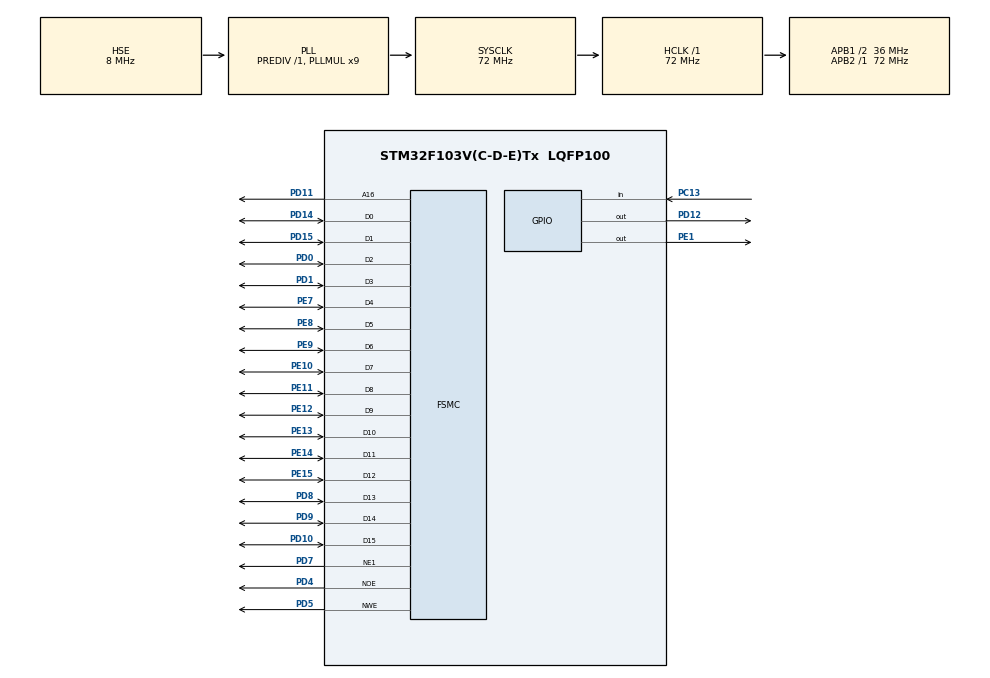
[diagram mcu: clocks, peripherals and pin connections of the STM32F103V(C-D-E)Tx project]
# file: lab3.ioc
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Mcu.Family=STM32F1
Mcu.Name=STM32F103V(C-D-E)Tx
Mcu.Package=LQFP100
NVIC.PriorityGroup=NVIC_PRIORITYGROUP_4
OSC_IN.Mode=HSE-External-Oscillator
OSC_IN.Signal=RCC_OSC_IN
OSC_OUT.Mode=HSE-External-Oscillator
OSC_OUT.Signal=RCC_OSC_OUT
PA13.Mode=Serial_Wire
PA13.Signal=SYS_JTMS-SWDIO
PA14.Mode=Serial_Wire
PA14.Signal=SYS_JTCK-SWCLK
PC13-TAMPER-RTC.GPIO_PuPd=GPIO_PULLDOWN
PC13-TAMPER-RTC.Signal=GPIO_Input
PC14-OSC32_IN.Mode=LSE-External-Oscillator
PC14-OSC32_IN.Signal=RCC_OSC32_IN
PC15-OSC32_OUT.Mode=LSE-External-Oscillator
PC15-OSC32_OUT.Signal=RCC_OSC32_OUT
PD0.Mode=16b-d1
PD0.Signal=FSMC_D2
PD1.Mode=16b-d1
PD1.Signal=FSMC_D3
PD10.Mode=16b-d1
PD10.Signal=FSMC_D15
PD11.Mode=A16_1
PD11.Signal=FSMC_A16
PD12.GPIO_Speed=GPIO_SPEED_FREQ_HIGH
PD12.PinState=GPIO_PIN_SET
PD12.Signal=GPIO_Output
PD14.Mode=16b-d1
PD14.Signal=FSMC_D0
PD15.Mode=16b-d1
PD15.Signal=FSMC_D1
PD4.Mode=Lcd1
PD4.Signal=FSMC_NOE
PD5.Mode=Lcd1
PD5.Signal=FSMC_NWE
PD7.Mode=NorPsramChipSelect1_1
PD7.Signal=FSMC_NE1
PD8.Mode=16b-d1
PD8.Signal=FSMC_D13
PD9.Mode=16b-d1
PD9.Signal=FSMC_D14
PE1.GPIO_Speed=GPIO_SPEED_FREQ_HIGH
PE1.PinState=GPIO_PIN_SET
PE1.Signal=GPIO_Output
PE10.Mode=16b-d1
PE10.Signal=FSMC_D7
PE11.Mode=16b-d1
PE11.Signal=FSMC_D8
PE12.Mode=16b-d1
PE12.Signal=FSMC_D9
PE13.Mode=16b-d1
PE13.Signal=FSMC_D10
PE14.Mode=16b-d1
PE14.Signal=FSMC_D11
PE15.Mode=16b-d1
PE15.Signal=FSMC_D12
PE7.Mode=16b-d1
PE7.Signal=FSMC_D4
PE8.Mode=16b-d1
PE8.Signal=FSMC_D5
PE9.Mode=16b-d1
PE9.Signal=FSMC_D6
ProjectManager.HeapSize=0x200
ProjectManager.StackSize=0x400
ProjectManager.TargetToolchain=STM32CubeIDE
RCC.AHBFreq_Value=72000000
RCC.APB1CLKDivider=RCC_HCLK_DIV2
RCC.APB1Freq_Value=36000000
RCC.APB1TimFreq_Value=72000000
RCC.APB2Freq_Value=72000000
RCC.APB2TimFreq_Value=72000000
RCC.HCLKFreq_Value=72000000
RCC.PLLMUL=RCC_PLL_MUL9
RCC.PLLSourceVirtual=RCC_PLLSOURCE_HSE
RCC.SYSCLKFreq_VALUE=72000000
RCC.SYSCLKSource=RCC_SYSCLKSOURCE_PLLCLK
RCC.USBFreq_Value=72000000
board=custom

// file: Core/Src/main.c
/* USER CODE BEGIN Header */
/**
  ******************************************************************************
  * @file           : main.c
  * @brief          : Main program body
  ******************************************************************************
  * @attention
  *
  * Copyright (c) 2023 STMicroelectronics.
  * All rights reserved.
  *
  * This software is licensed under terms that can be found in the LICENSE file
  * in the root directory of this software component.
  * If no LICENSE file comes with this software, it is provided AS-IS.
  *
  ******************************************************************************
  */
/* USER CODE END Header */
#include "main.h"

/* USER CODE BEGIN Includes */
#include "lcd.h"

/* USER CODE END Includes */

 SRAM_HandleTypeDef hsram1;

void SystemClock_Config(void);
static void MX_GPIO_Init(void);
static void MX_FSMC_Init(void);

int main(void)
{
  /* USER CODE BEGIN 1 */
	const unsigned char arr [] = {
	0x00, 0x00, 0x00, 0x00, 0x00, 0x00, 0x00, 0x00, 0x00, 0x00, 0x00, 0x00, 0x00, 0x00, 0x00, 0x00, 0x00, 0x00, 0x00, 0x00, 0x00, 0x00, 0x00, 0x00,
	0x00, 0x00, 0x00, 0x00, 0x00, 0x00, 0x00, 0x00, 0x00, 0x00, 0x00, 0x01, 0x01, 0x00, 0x00, 0x00, 0x00, 0x00, 0x00, 0x01, 0x01, 0x00, 0x00, 0x00,
	0x00, 0x00, 0x00, 0x00, 0x00, 0x00, 0x00, 0x00, 0x00, 0x00, 0x00, 0x01, 0x01, 0x01, 0x00, 0x00, 0x00, 0x00, 0x01, 0x01, 0x01, 0x00, 0x00, 0x00,
	0x00, 0x00, 0x01, 0x01, 0x01, 0x01, 0x01, 0x01, 0x01, 0x01, 0x00, 0x00, 0x01, 0x01, 0x01, 0x00, 0x00, 0x01, 0x01, 0x01, 0x00, 0x00, 0x00, 0x00,
	0x00, 0x00, 0x01, 0x01, 0x01, 0x01, 0x01, 0x01, 0x01, 0x01, 0x00, 0x00, 0x00, 0x01, 0x01, 0x01, 0x01, 0x01, 0x01, 0x00, 0x00, 0x00, 0x00, 0x00,
	0x00, 0x00, 0x01, 0x01, 0x00, 0x00, 0x00, 0x00, 0x01, 0x01, 0x00, 0x00, 0x00, 0x00, 0x01, 0x01, 0x01, 0x01, 0x00, 0x00, 0x00, 0x00, 0x00, 0x00,
	0x00, 0x00, 0x01, 0x01, 0x00, 0x00, 0x00, 0x00, 0x01, 0x01, 0x00, 0x00, 0x00, 0x00, 0x00, 0x01, 0x01, 0x00, 0x00, 0x00, 0x00, 0x00, 0x00, 0x00,
	0x00, 0x00, 0x01, 0x01, 0x00, 0x00, 0x00, 0x00, 0x01, 0x01, 0x00, 0x00, 0x00, 0x01, 0x01, 0x01, 0x01, 0x01, 0x01, 0x00, 0x00, 0x00, 0x00, 0x00,
	0x00, 0x00, 0x01, 0x01, 0x00, 0x00, 0x00, 0x00, 0x01, 0x01, 0x00, 0x00, 0x01, 0x01, 0x01, 0x00, 0x00, 0x01, 0x01, 0x01, 0x00, 0x00, 0x00, 0x00,
	0x00, 0x00, 0x01, 0x01, 0x00, 0x00, 0x00, 0x00, 0x01, 0x01, 0x00, 0x01, 0x01, 0x01, 0x00, 0x00, 0x00, 0x00, 0x01, 0x01, 0x01, 0x00, 0x00, 0x00,
	0x00, 0x00, 0x01, 0x01, 0x00, 0x00, 0x00, 0x00, 0x01, 0x01, 0x00, 0x01, 0x01, 0x00, 0x01, 0x01, 0x00, 0x00, 0x00, 0x01, 0x01, 0x01, 0x00, 0x00,
	0x00, 0x00, 0x01, 0x01, 0x01, 0x01, 0x01, 0x01, 0x01, 0x01, 0x00, 0x00, 0x00, 0x01, 0x01, 0x00, 0x00, 0x00, 0x00, 0x00, 0x00, 0x00, 0x00, 0x00,
	0x00, 0x00, 0x01, 0x01, 0x01, 0x01, 0x01, 0x01, 0x01, 0x01, 0x00, 0x01, 0x01, 0x01, 0x01, 0x01, 0x01, 0x01, 0x01, 0x01, 0x01, 0x01, 0x00, 0x00,
	0x00, 0x00, 0x01, 0x01, 0x00, 0x00, 0x00, 0x00, 0x01, 0x01, 0x00, 0x01, 0x01, 0x01, 0x01, 0x01, 0x01, 0x01, 0x01, 0x01, 0x01, 0x01, 0x00, 0x00,
	0x00, 0x00, 0x01, 0x01, 0x00, 0x00, 0x00, 0x00, 0x01, 0x01, 0x01, 0x01, 0x00, 0x00, 0x00, 0x00, 0x01, 0x01, 0x00, 0x00, 0x00, 0x00, 0x00, 0x00,
	0x00, 0x00, 0x01, 0x01, 0x00, 0x00, 0x00, 0x00, 0x01, 0x01, 0x01, 0x00, 0x01, 0x01, 0x01, 0x01, 0x01, 0x01, 0x01, 0x01, 0x01, 0x01, 0x00, 0x00,
	0x00, 0x00, 0x01, 0x01, 0x00, 0x00, 0x00, 0x00, 0x01, 0x01, 0x00, 0x00, 0x01, 0x01, 0x01, 0x01, 0x01, 0x01, 0x01, 0x01, 0x01, 0x01, 0x00, 0x00,
	0x00, 0x00, 0x01, 0x01, 0x00, 0x00, 0x00, 0x00, 0x01, 0x01, 0x00, 0x00, 0x01, 0x01, 0x00, 0x00, 0x01, 0x01, 0x00, 0x00, 0x01, 0x01, 0x00, 0x00,
	0x00, 0x00, 0x01, 0x01, 0x00, 0x00, 0x00, 0x00, 0x01, 0x01, 0x00, 0x00, 0x01, 0x01, 0x00, 0x00, 0x01, 0x01, 0x00, 0x00, 0x01, 0x01, 0x00, 0x00,
	0x00, 0x00, 0x01, 0x01, 0x00, 0x00, 0x00, 0x00, 0x01, 0x01, 0x00, 0x00, 0x01, 0x01, 0x00, 0x00, 0x01, 0x01, 0x00, 0x00, 0x01, 0x01, 0x00, 0x00,
	0x00, 0x00, 0x01, 0x01, 0x01, 0x01, 0x01, 0x01, 0x01, 0x01, 0x00, 0x00, 0x00, 0x00, 0x00, 0x00, 0x01, 0x01, 0x00, 0x00, 0x00, 0x00, 0x00, 0x00,
	0x00, 0x00, 0x01, 0x01, 0x01, 0x01, 0x01, 0x01, 0x01, 0x01, 0x00, 0x00, 0x00, 0x00, 0x00, 0x00, 0x01, 0x01, 0x00, 0x00, 0x00, 0x00, 0x00, 0x00,
	0x00, 0x00, 0x00, 0x00, 0x00, 0x00, 0x00, 0x00, 0x00, 0x00, 0x00, 0x00, 0x00, 0x00, 0x00, 0x00, 0x01, 0x01, 0x00, 0x00, 0x00, 0x00, 0x00, 0x00,
	0x00, 0x00, 0x00, 0x00, 0x00, 0x00, 0x00, 0x00, 0x00, 0x00, 0x00, 0x00, 0x00, 0x00, 0x00, 0x00, 0x01, 0x01, 0x00, 0x00, 0x00, 0x00, 0x00, 0x00
	};
	int w = 24;
	int h = 24;

  /* USER CODE END 1 */

  /* MCU Configuration--------------------------------------------------------*/

  /* Reset of all peripherals, Initializes the Flash interface and the Systick. */
  HAL_Init();

  /* Configure the system clock */
  SystemClock_Config();

  /* Initialize all configured peripherals */
  MX_GPIO_Init();
  MX_FSMC_Init();
  /* USER CODE BEGIN 2 */
  LCD_INIT();

  int state = 0;
  int curr_page = 1;

  /* USER CODE END 2 */

  /* Infinite loop */
  while (1)
  {
	  if (curr_page == 1) {
		  LCD_DrawString(0, 0, "LI, Yu-hsi");
		  LCD_DrawDot(50, 100, RED);
		  LCD_DrawEllipse(120, 160, 25, 75, BLACK);

	  }
	  else {
		  LCD_DrawChinese(180, 50, (const unsigned char*) arr, w, h);
	  }

	  if (HAL_GPIO_ReadPin(GPIOC, GPIO_PIN_13) && !state) {
		  curr_page = !curr_page;
		  LCD_Clear(0, 0, 240, 320, WHITE);
	  }
	  state = HAL_GPIO_ReadPin(GPIOC, GPIO_PIN_13);

  }
}

void SystemClock_Config(void)
{
  RCC_OscInitTypeDef RCC_OscInitStruct = {0};
  RCC_ClkInitTypeDef RCC_ClkInitStruct = {0};

  /** Initializes the RCC Oscillators according to the specified parameters
  * in the RCC_OscInitTypeDef structure.
  */
  RCC_OscInitStruct.OscillatorType = RCC_OSCILLATORTYPE_HSE;
  RCC_OscInitStruct.HSEState = RCC_HSE_ON;
  RCC_OscInitStruct.HSEPredivValue = RCC_HSE_PREDIV_DIV1;
  RCC_OscInitStruct.HSIState = RCC_HSI_ON;
  RCC_OscInitStruct.PLL.PLLState = RCC_PLL_ON;
  RCC_OscInitStruct.PLL.PLLSource = RCC_PLLSOURCE_HSE;
  RCC_OscInitStruct.PLL.PLLMUL = RCC_PLL_MUL9;
  if (HAL_RCC_OscConfig(&RCC_OscInitStruct) != HAL_OK)
  {
    Error_Handler();
  }

  /** Initializes the CPU, AHB and APB buses clocks
  */
  RCC_ClkInitStruct.ClockType = RCC_CLOCKTYPE_HCLK|RCC_CLOCKTYPE_SYSCLK
                              |RCC_CLOCKTYPE_PCLK1|RCC_CLOCKTYPE_PCLK2;
  RCC_ClkInitStruct.SYSCLKSource = RCC_SYSCLKSOURCE_PLLCLK;
  RCC_ClkInitStruct.AHBCLKDivider = RCC_SYSCLK_DIV1;
  RCC_ClkInitStruct.APB1CLKDivider = RCC_HCLK_DIV2;
  RCC_ClkInitStruct.APB2CLKDivider = RCC_HCLK_DIV1;

  if (HAL_RCC_ClockConfig(&RCC_ClkInitStruct, FLASH_LATENCY_2) != HAL_OK)
  {
    Error_Handler();
  }
}

static void MX_GPIO_Init(void)
{
  GPIO_InitTypeDef GPIO_InitStruct = {0};

  /* GPIO Ports Clock Enable */
  __HAL_RCC_GPIOC_CLK_ENABLE();
  __HAL_RCC_GPIOE_CLK_ENABLE();
  __HAL_RCC_GPIOD_CLK_ENABLE();
  __HAL_RCC_GPIOA_CLK_ENABLE();

  /*Configure GPIO pin Output Level */
  HAL_GPIO_WritePin(GPIOD, GPIO_PIN_12, GPIO_PIN_RESET);

  /*Configure GPIO pin Output Level */
  HAL_GPIO_WritePin(GPIOE, GPIO_PIN_1, GPIO_PIN_RESET);

  /*Configure GPIO pin : PC13 */
  GPIO_InitStruct.Pin = GPIO_PIN_13;
  GPIO_InitStruct.Mode = GPIO_MODE_INPUT;
  GPIO_InitStruct.Pull = GPIO_PULLDOWN;
  HAL_GPIO_Init(GPIOC, &GPIO_InitStruct);

  /*Configure GPIO pin : PD12 */
  GPIO_InitStruct.Pin = GPIO_PIN_12;
  GPIO_InitStruct.Mode = GPIO_MODE_OUTPUT_PP;
  GPIO_InitStruct.Pull = GPIO_NOPULL;
  GPIO_InitStruct.Speed = GPIO_SPEED_FREQ_HIGH;
  HAL_GPIO_Init(GPIOD, &GPIO_InitStruct);

  /*Configure GPIO pin : PE1 */
  GPIO_InitStruct.Pin = GPIO_PIN_1;
  GPIO_InitStruct.Mode = GPIO_MODE_OUTPUT_PP;
  GPIO_InitStruct.Pull = GPIO_NOPULL;
  GPIO_InitStruct.Speed = GPIO_SPEED_FREQ_HIGH;
  HAL_GPIO_Init(GPIOE, &GPIO_InitStruct);

}

/* FSMC initialization function */
static void MX_FSMC_Init(void)
{

  FSMC_NORSRAM_TimingTypeDef Timing = {0};

  /** Perform the SRAM1 memory initialization sequence
  */
  hsram1.Instance = FSMC_NORSRAM_DEVICE;
  hsram1.Extended = FSMC_NORSRAM_EXTENDED_DEVICE;
  /* hsram1.Init */
  hsram1.Init.NSBank = FSMC_NORSRAM_BANK1;
  hsram1.Init.DataAddressMux = FSMC_DATA_ADDRESS_MUX_DISABLE;
  hsram1.Init.MemoryType = FSMC_MEMORY_TYPE_SRAM;
  hsram1.Init.MemoryDataWidth = FSMC_NORSRAM_MEM_BUS_WIDTH_16;
  hsram1.Init.BurstAccessMode = FSMC_BURST_ACCESS_MODE_DISABLE;
  hsram1.Init.WaitSignalPolarity = FSMC_WAIT_SIGNAL_POLARITY_LOW;
  hsram1.Init.WrapMode = FSMC_WRAP_MODE_DISABLE;
  hsram1.Init.WaitSignalActive = FSMC_WAIT_TIMING_BEFORE_WS;
  hsram1.Init.WriteOperation = FSMC_WRITE_OPERATION_ENABLE;
  hsram1.Init.WaitSignal = FSMC_WAIT_SIGNAL_DISABLE;
  hsram1.Init.ExtendedMode = FSMC_EXTENDED_MODE_DISABLE;
  hsram1.Init.AsynchronousWait = FSMC_ASYNCHRONOUS_WAIT_DISABLE;
  hsram1.Init.WriteBurst = FSMC_WRITE_BURST_DISABLE;
  /* Timing */
  Timing.AddressSetupTime = 15;
  Timing.AddressHoldTime = 15;
  Timing.DataSetupTime = 255;
  Timing.BusTurnAroundDuration = 15;
  Timing.CLKDivision = 16;
  Timing.DataLatency = 17;
  Timing.AccessMode = FSMC_ACCESS_MODE_A;
  /* ExtTiming */

  if (HAL_SRAM_Init(&hsram1, &Timing, NULL) != HAL_OK)
  {
    Error_Handler( );
  }

  /** Disconnect NADV
  */

  __HAL_AFIO_FSMCNADV_DISCONNECTED();

}

void Error_Handler(void)
{
  __disable_irq();
  while (1)
  {
  }
}
